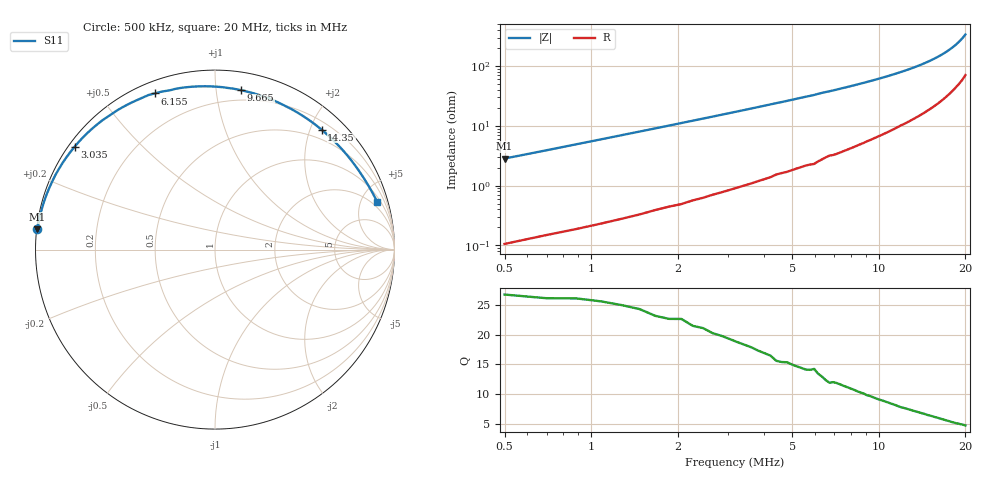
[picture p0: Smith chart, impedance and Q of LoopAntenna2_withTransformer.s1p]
# HZ S RI R 50
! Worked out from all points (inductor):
!   101 points, 500 kHz to 20 MHz, reference 50 ohm
!   read as one part to ground: L = 889 nH near 500 kHz
!   highest Q = 26.8 at 500 kHz (marker M1), where L = 903 nH
!   S11 on the Smith chart (normalised r, x): 500 kHz: 0.00, +0.06; 3.035 MHz: 0.02, +0.33; 6.155 MHz: 0.05, +0.68; 9.665 MHz: 0.13, +1.17; 14.35 MHz: 0.33, +2.19; 20 MHz: 1.41, +6.61
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500000  -0.9894 0.1126
1085000  -0.9631 0.233
1670000  -0.9223 0.3459
2060000  -0.8884 0.4171
2450000  -0.8489 0.4833
3035000  -0.7817 0.5739
3620000  -0.7065 0.6539
4205000  -0.6249 0.7223
4790000  -0.5414 0.7782
5375000  -0.4541 0.8242
5960000  -0.3712 0.8609
6155000  -0.336 0.8703
6545000  -0.2745 0.8839
7130000  -0.1938 0.9003
7910000  -0.0829 0.9098
8885000  0.0476 0.9042
9665000  0.1449 0.8882
1.025e7  0.2133 0.8713
1.0835e7  0.2784 0.8502
1.1615e7  0.3592 0.8163
1.2785e7  0.4679 0.7584
1.3565e7  0.5338 0.7148
1.4345e7  0.5943 0.6681
1.5125e7  0.6498 0.6183
1.6295e7  0.7242 0.5399
1.766e7  0.7991 0.4433
1.883e7  0.8544 0.3572
2e7  0.9026 0.267
